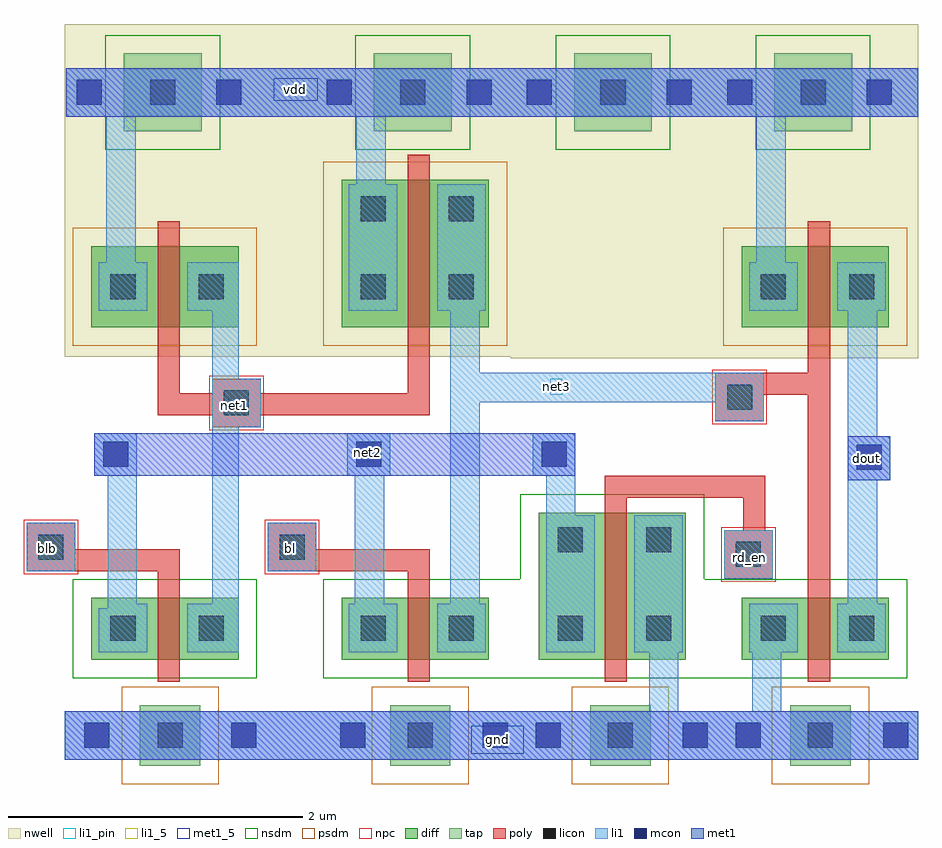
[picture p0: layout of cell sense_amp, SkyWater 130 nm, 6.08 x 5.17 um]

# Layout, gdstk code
import gdstk
lib = gdstk.Library(unit=1e-6, precision=1e-09)
def R(c, l, rs):  # rectangles x0, y0, x1, y1
    for r in rs: c.add(gdstk.rectangle(r[:2], r[2:], *l))
def A(c, l, x, y, w, h, nx, ny, dx, dy):  # array of equal rectangles
    R(c, l, [(x+i*dx, y+j*dy, x+i*dx+w, y+j*dy+h) for i in range(nx) for j in range(ny)])
nwell = (64, 20)
diff = (65, 20)
tap = (65, 44)
poly = (66, 20)
licon = (66, 44)
li1_5 = (67, 5)
li1_pin = (67, 16)
li1 = (67, 20)
mcon = (67, 44)
met1_5 = (68, 5)
met1 = (68, 20)
nsdm = (93, 44)
psdm = (94, 20)
npc = (95, 20)

sense_amp = lib.new_cell('sense_amp')
R(sense_amp, nwell, [(3,2.25,5.77,2.26), (-0.03,2.26,5.77,4.52)])
R(sense_amp, diff, [(0.15,0.2,1.15,0.62), (1.85,0.2,2.85,0.62), (3.19,0.2,4.19,1.2), (4.57,0.2,5.57,0.62), (0.15,2.46,1.15,3.01), (1.85,2.46,2.85,3.46), (4.57,2.46,5.57,3.01)])
A(sense_amp, tap, 2.18, -0.52, 0.41, 0.41, 3, 1, 1.36, 0)
A(sense_amp, tap, 2.07, 3.79, 0.53, 0.53, 3, 1, 1.36, 0)
R(sense_amp, tap, [(0.48,-0.52,0.89,-0.11), (0.37,3.79,0.9,4.32)])
R(sense_amp, poly, [(0.6,0.05,0.75,0.8), (2.3,0.05,2.45,0.8), (3.64,0.05,3.79,1.3), (5.02,0.05,5.17,2), (4.45,0.75,4.78,1.08), (-0.29,0.8,0.75,0.95), (1.35,0.8,2.45,0.95), (-0.29,0.95,0.04,1.13), (1.35,0.95,1.68,1.13), (4.58,1.08,4.73,1.3), (3.64,1.3,4.73,1.45), (0.97,1.78,1.3,1.86), (4.39,1.82,4.72,2), (0.6,1.86,2.45,2.01), (4.39,2,5.17,2.15), (0.6,2.01,0.75,3.18), (0.97,2.01,1.3,2.11), (2.3,2.01,2.45,3.63), (5.02,2.15,5.17,3.18)])
A(sense_amp, licon, 2.3, -0.4, 0.17, 0.17, 3, 1, 1.36, 0)
A(sense_amp, licon, 2.25, 3.97, 0.17, 0.17, 3, 1, 1.36, 0)
R(sense_amp, licon, [(0.6,-0.4,0.77,-0.23), (0.28,0.33,0.45,0.5), (0.88,0.33,1.05,0.5), (1.98,0.33,2.15,0.5), (2.58,0.33,2.75,0.5), (3.32,0.33,3.49,0.5), (3.92,0.33,4.09,0.5), (4.7,0.33,4.87,0.5), (5.3,0.33,5.47,0.5), (4.53,0.83,4.7,1), (-0.21,0.88,-0.04,1.05), (1.43,0.88,1.6,1.05), (3.32,0.93,3.49,1.1), (3.92,0.93,4.09,1.1), (1.05,1.86,1.22,2.03), (4.47,1.9,4.64,2.07), (0.28,2.65,0.45,2.82), (0.88,2.65,1.05,2.82), (1.98,2.65,2.15,2.82), (2.58,2.65,2.75,2.82), (4.7,2.65,4.87,2.82), (5.3,2.65,5.47,2.82), (1.98,3.18,2.15,3.35), (2.58,3.18,2.75,3.35), (0.55,3.97,0.72,4.14)])
R(sense_amp, li1_5, [(4.58,0.84,4.66,0.95), (-0.19,0.9,-0.11,1.01), (1.46,0.9,1.54,1.01), (5.38,1.54,5.46,1.6)])
R(sense_amp, li1_pin, [(1.99,1.55,2.07,1.66), (1.08,1.87,1.16,1.98), (3.27,2,3.35,2.11)])
R(sense_amp, li1, [(-0.03,-0.48,5.77,-0.15), (3.94,-0.15,4.14,0.25), (4.64,-0.15,4.84,0.25), (0.2,0.25,0.53,0.55), (0.8,0.25,1.15,0.58), (1.9,0.25,2.23,0.58), (2.5,0.25,2.83,0.58), (3.24,0.25,3.57,1.18), (3.84,0.25,4.17,1.18), (4.62,0.25,4.95,0.58), (5.22,0.25,5.55,0.58), (0.26,0.55,0.53,0.58), (0.26,0.58,0.46,1.45), (0.97,0.58,1.15,1.78), (1.94,0.58,2.14,1.45), (2.59,0.58,2.79,1.95), (5.29,0.58,5.49,1.42), (4.45,0.75,4.78,1.08), (-0.29,0.8,0.04,1.13), (1.35,0.8,1.68,1.13), (3.24,1.18,3.44,1.45), (5.29,1.42,5.58,1.72), (0.17,1.45,0.46,1.74), (1.89,1.45,2.18,1.74), (3.15,1.45,3.44,1.74), (5.29,1.72,5.49,2.57), (0.97,1.78,1.3,2.11), (4.39,1.82,4.72,1.95), (2.59,1.95,4.72,2.15), (0.97,2.11,1.15,2.57), (2.59,2.15,2.79,2.57), (0.2,2.57,0.53,2.9), (0.8,2.57,1.15,2.9), (1.9,2.57,2.23,3.43), (2.5,2.57,2.83,3.43), (4.62,2.57,4.95,2.9), (5.22,2.57,5.55,2.9), (0.25,2.9,0.45,3.89), (4.67,2.9,4.87,3.89), (1.95,3.43,2.15,3.89), (-0.02,3.89,5.77,4.22)])
R(sense_amp, mcon, [(0.1,-0.4,0.27,-0.23), (1.1,-0.4,1.27,-0.23), (1.84,-0.4,2.01,-0.23), (2.81,-0.4,2.98,-0.23), (3.17,-0.4,3.34,-0.23), (4.17,-0.4,4.34,-0.23), (4.53,-0.4,4.7,-0.23), (5.53,-0.4,5.7,-0.23), (5.35,1.49,5.52,1.66), (0.23,1.51,0.4,1.68), (1.95,1.51,2.12,1.68), (3.21,1.51,3.38,1.68), (0.05,3.97,0.22,4.14), (1,3.97,1.17,4.14), (1.75,3.97,1.92,4.14), (2.7,3.97,2.87,4.14), (3.11,3.97,3.28,4.14), (4.06,3.97,4.23,4.14), (4.47,3.97,4.64,4.14), (5.42,3.97,5.59,4.14)])
R(sense_amp, met1_5, [(2.73,-0.44,3.09,-0.25), (1.39,4,1.69,4.15)])
R(sense_amp, met1, [(-0.03,-0.48,5.77,-0.15), (5.29,1.42,5.58,1.72), (0.17,1.45,3.44,1.74), (-0.02,3.89,5.77,4.22)])
A(sense_amp, nsdm, 1.945, 3.665, 0.78, 0.78, 3, 1, 1.36, 0)
R(sense_amp, nsdm, [(0.025,0.075,1.275,0.745), (1.725,0.075,5.695,0.745), (3.065,0.745,4.315,1.325), (0.245,3.665,1.025,4.445)])
A(sense_amp, psdm, 2.055, -0.645, 0.66, 0.66, 3, 1, 1.36, 0)
R(sense_amp, psdm, [(0.355,-0.645,1.015,0.015), (0.025,2.335,1.275,3.135), (1.725,2.335,2.975,3.585), (4.445,2.335,5.695,3.135)])
R(sense_amp, npc, [(4.43,0.73,4.8,1.1), (-0.31,0.78,0.06,1.15), (1.33,0.78,1.7,1.15), (0.95,1.76,1.32,2.13), (4.37,1.8,4.74,2.17)])
sense_amp.add(gdstk.Label('net1', (1.12,1.925), layer=67, texttype=16))
sense_amp.add(gdstk.Label('net2', (2.03,1.605), layer=67, texttype=16))
sense_amp.add(gdstk.Label('net3', (3.31,2.055), layer=67, texttype=16))
sense_amp.add(gdstk.Label('vdd', (1.54,4.075), layer=68, texttype=5))
sense_amp.add(gdstk.Label('gnd', (2.91,-0.345), layer=68, texttype=5))
sense_amp.add(gdstk.Label('blb', (-0.15,0.955), layer=67, texttype=5))
sense_amp.add(gdstk.Label('bl', (1.5,0.955), layer=67, texttype=5))
sense_amp.add(gdstk.Label('rd_en', (4.62,0.895), layer=67, texttype=5))
sense_amp.add(gdstk.Label('dout', (5.42,1.57), layer=67, texttype=5))

lib.write_gds('sense_amp.gds')
